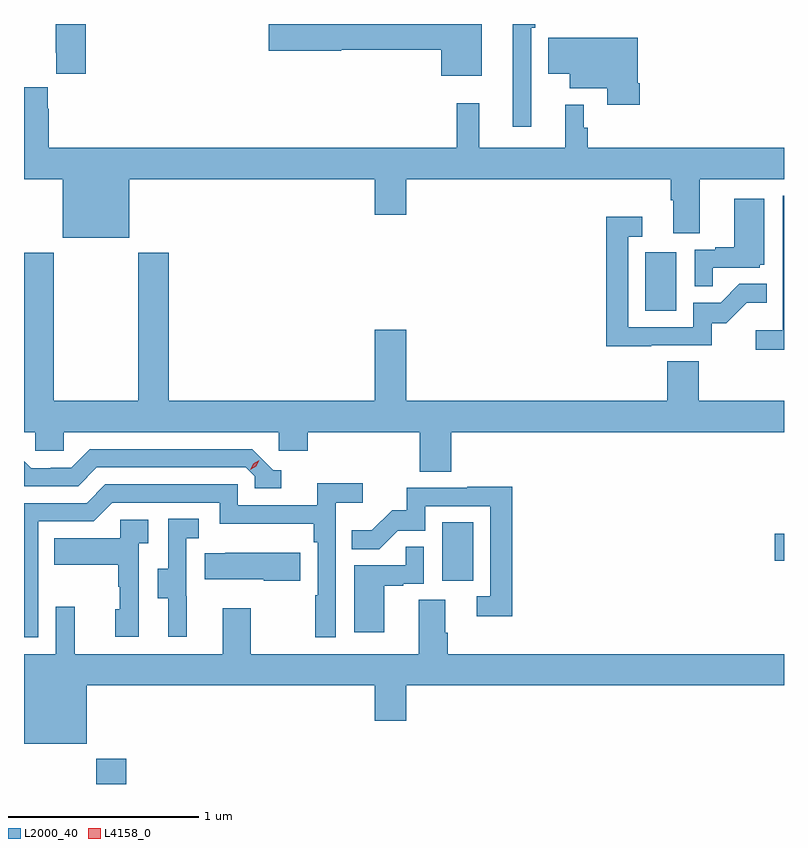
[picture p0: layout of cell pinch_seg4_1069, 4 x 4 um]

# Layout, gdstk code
import gdstk
lib = gdstk.Library(unit=1e-6, precision=1e-09)
def R(c, l, rs):  # rectangles x0, y0, x1, y1
    for r in rs: c.add(gdstk.rectangle(r[:2], r[2:], *l))
def P(c, l, *ps):  # polygons
    for p in ps: c.add(gdstk.Polygon(p, *l))
L2000_40 = (2000, 40)
L4158_0 = (4158, 0)

pinch_seg4_1069 = lib.new_cell('pinch_seg4_1069')
R(pinch_seg4_1069, L2000_40, [(834.868,757.672,835.028,757.804), (836.69,758.742,836.854,759.049), (838.44,758.848,838.489,758.99), (837.758,760.164,837.922,760.471)])
P(pinch_seg4_1069, L2000_40, [(834.815,761.672),(834.655,761.672),(834.655,761.521),(834.659,761.521),(834.659,761.409),(834.815,761.409)],
  [(837.159,761.651),(837.179,761.651),(837.179,761.672),(837.062,761.672),(837.062,761.13),(837.159,761.13)],
  [(836.899,761.672),(835.776,761.672),(835.776,761.531),(836.16,761.531),(836.16,761.536),(836.684,761.536),(836.684,761.399),(836.899,761.399)],
  [(837.731,761.359),(837.718,761.359),(837.718,761.599),(837.248,761.599),(837.248,761.411),(837.362,761.411),(837.362,761.333),(837.56,761.333),(837.56,761.247),(837.731,761.247)],
  [(835.042,760.856),(836.336,760.856),(836.336,760.668),(836.5,760.668),(836.5,760.856),(837.893,760.856),(837.893,760.744),(837.905,760.744),(837.905,760.57),(838.045,760.57),(838.045,760.856),(838.489,760.856),(838.489,761.02),(837.455,761.02),(837.455,761.127),(837.435,761.127),(837.435,761.248),(837.338,761.248),(837.338,761.02),(836.885,761.02),(836.885,761.254),(836.767,761.254),(836.767,761.02),(834.62,761.02),(834.62,761.225),(834.613,761.225),(834.613,761.338),(834.489,761.338),(834.489,760.856),(834.692,760.856),(834.692,760.547),(835.042,760.547)],
  [(838.489,760.768),(838.482,760.768),(838.482,760.06),(838.341,760.06),(838.341,759.958),(838.489,759.958)],
  [(838.115,760.389),(838.362,760.389),(838.362,760.404),(838.384,760.404),(838.384,760.753),(838.226,760.753),(838.226,760.498),(838.127,760.498),(838.127,760.485),(838.02,760.485),(838.02,760.291),(838.115,760.291)],
  [(837.791,759.981),(838.11,759.981),(838.11,760.098),(838.186,760.098),(838.293,760.205),(838.397,760.205),(838.397,760.304),(838.253,760.304),(838.155,760.206),(838.011,760.206),(838.011,760.077),(837.669,760.077),(837.669,760.551),(837.742,760.551),(837.742,760.657),(837.553,760.657),(837.553,759.976),(837.791,759.976)],
  [(836.738,759.524),(838.489,759.524),(838.489,759.688),(838.04,759.688),(838.04,759.896),(837.875,759.896),(837.875,759.688),(836.5,759.688),(836.5,760.063),(836.336,760.063),(836.336,759.688),(835.25,759.688),(835.25,760.468),(835.09,760.468),(835.09,759.688),(834.645,759.688),(834.645,760.468),(834.489,760.468),(834.489,759.524),(834.549,759.524),(834.549,759.426),(834.699,759.426),(834.699,759.524),(835.83,759.524),(835.83,759.426),(835.982,759.426),(835.982,759.524),(836.573,759.524),(836.573,759.316),(836.738,759.316)],
  [(835.843,759.324),(835.8,759.324),(835.689,759.435),(834.836,759.435),(834.737,759.336),(834.63,759.336),(834.63,759.333),(834.527,759.333),(834.489,759.372),(834.489,759.24),(834.774,759.24),(834.873,759.339),(835.656,759.339),(835.704,759.291),(835.704,759.228),(835.843,759.228)],
  [(834.564,759.054),(834.855,759.054),(834.954,759.153),(835.518,759.153),(835.518,759.041),(836.014,759.041),(836.014,758.945),(836.034,758.945),(836.034,758.666),(836.022,758.666),(836.022,758.445),(836.13,758.445),(836.13,759.152),(836.272,759.152),(836.272,759.254),(836.033,759.254),(836.033,759.138),(835.614,759.138),(835.614,759.249),(834.917,759.249),(834.818,759.15),(834.489,759.15),(834.489,758.445),(834.564,758.445)],
  [(837.059,759.236),(836.821,759.236),(836.821,759.231),(836.503,759.231),(836.503,759.114),(836.426,759.114),(836.319,759.007),(836.215,759.007),(836.215,758.908),(836.359,758.908),(836.457,759.006),(836.601,759.006),(836.601,759.135),(836.943,759.135),(836.943,758.661),(836.871,758.661),(836.871,758.556),(837.059,758.556)],
  [(835.346,758.661),(835.344,758.661),(835.344,758.965),(835.408,758.965),(835.408,759.068),(835.248,759.068),(835.248,758.805),(835.193,758.805),(835.193,758.65),(835.247,758.65),(835.247,758.448),(835.346,758.448)],
  [(835.092,758.939),(835.144,758.939),(835.144,759.063),(834.996,759.063),(834.996,758.965),(834.649,758.965),(834.649,758.825),(834.984,758.825),(834.984,758.711),(834.994,758.711),(834.994,758.592),(834.968,758.592),(834.968,758.448),(835.092,758.448)],
  [(836.386,758.715),(836.486,758.715),(836.486,758.727),(836.592,758.727),(836.592,758.921),(836.497,758.921),(836.497,758.823),(836.228,758.823),(836.228,758.472),(836.386,758.472)],
  [(835.942,758.89),(835.549,758.89),(835.549,758.887),(835.441,758.887),(835.441,758.75),(835.751,758.75),(835.751,758.743),(835.942,758.743)],
  [(834.82,758.192),(836.336,758.192),(836.336,758.004),(836.5,758.004),(836.5,758.192),(838.489,758.192),(838.489,758.356),(836.72,758.356),(836.72,758.468),(836.707,758.468),(836.707,758.642),(836.567,758.642),(836.567,758.356),(835.683,758.356),(835.683,758.596),(835.535,758.596),(835.535,758.356),(834.755,758.356),(834.755,758.605),(834.657,758.605),(834.657,758.356),(834.489,758.356),(834.489,757.883),(834.82,757.883)])
P(pinch_seg4_1069, L4158_0, [(835.68,759.325),(835.68,759.325),(835.696,759.358),(835.727,759.377),(835.728,759.377),(835.728,759.377),(835.711,759.344),(835.68,759.325)])

lib.write_gds('pinch_seg4_1069.gds')
